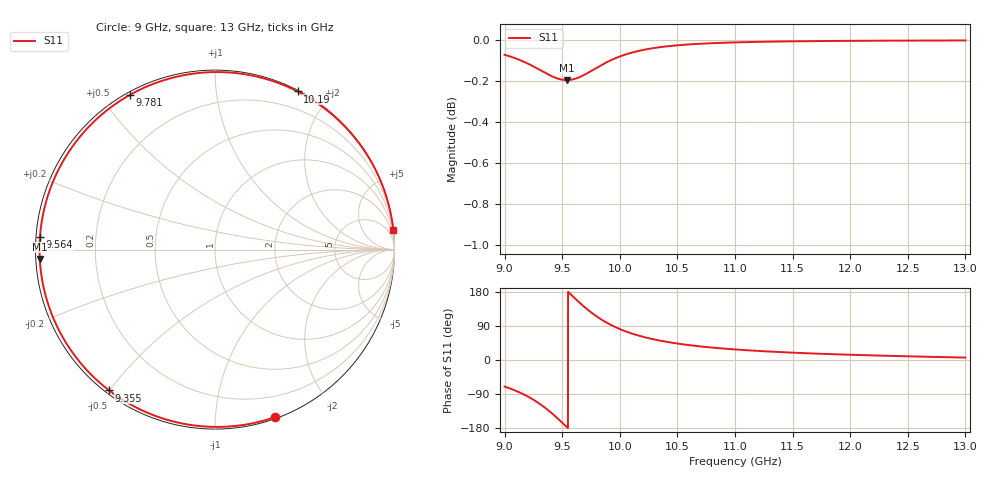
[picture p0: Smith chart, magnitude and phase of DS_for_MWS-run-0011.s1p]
! TOUCHSTONE file generated by CST DESIGN STUDIO
! Date and time: Tue Feb  4 17:11:18 2025
! Project name: C:\Work\MatlabApps\UnitCellOptimizationMatlab\CST\unitcell.cst
! Tree item: Tasks\Sweep1\SPara1\S-Parameters
! Header version: 2024
! Port assignment regex: !\s*Touchstone port\s*([0-9]+)\s*=\s*(CST MWS port|CST DES external port|CST DES block port)\s*(.+)\s* \(\"(.*)\"\)(\s*mode\s*([0-9]+))?.*
! Touchstone port assignment:
! Touchstone port 1 = CST DES external port 1 ("")
# GHz S MA R 50
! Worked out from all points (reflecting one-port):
!   4001 points, 9 GHz to 13 GHz, reference 50 ohm
!   lowest |S11| = -0.2 dB at 9.54 GHz (marker M1), VSWR 88.54, Z = 0.565 - j1.32 ohm
!   phase of S11 starts at -70 deg and turns -283 deg over the sweep
!   S11 on the Smith chart (normalised r, x): 9 GHz: 0.01, -1.42; 9.355 GHz: 0.01, -0.50; 9.564 GHz: 0.01, +0.03; 9.781 GHz: 0.01, +0.59; 10.19 GHz: 0.01, +1.65; 13 GHz: 0, +18
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9  0.9916 -70.2
9.101  0.9895 -81.7
9.21  0.9865 -97.7
9.286  0.9839 -111.8
9.355  0.9815 -126.9
9.424  0.9794 -144.2
9.464  0.9784 -155.1
9.5  0.9779 -165.3
9.54  0.9777 -177.0
9.564  0.9777 176.0
9.619  0.9785 160.1
9.679  0.9801 143.6
9.73  0.9819 130.7
9.781  0.9838 118.9
9.828  0.9855 109.2
9.879  0.9872 99.8
9.935  0.989 90.7
10  0.9907 81.7
10.09  0.9926 71.4
10.187  0.9941 62.4
10.33  0.9957 52.3
10.5  0.9969 43.4
10.721  0.9978 35.2
11  0.9985 27.9
11.5  0.9991 19.4
12  0.9994 13.8
12.5  0.9995 9.7
13  0.9996 6.4
